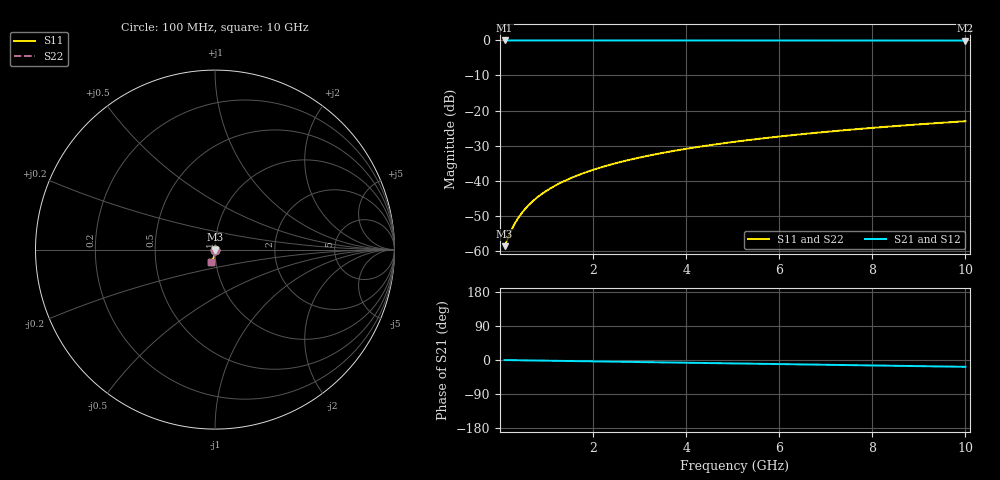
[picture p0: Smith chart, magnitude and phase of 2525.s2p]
# Hz S RI R 50.00
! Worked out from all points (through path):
!   100 points, 100 MHz to 10 GHz, reference 50 ohm
!   highest |S21| = -0.01 dB at 100 MHz (marker M1); lowest = 0.0 dB at 10 GHz (marker M2)
!   group delay of S21, straight-line fit = 5 ps
!   lowest |S11| = -58.7 dB at 100 MHz (marker M3), VSWR 1.00, Z = 50.1 - j0.0714 ohm
!   |S11| at or under -10 dB: start of sweep to end of sweep
!   |S22| runs from -58.7 to -23.1 dB; largest |S21 - S12| = 0
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1e8  0.000915 -0.000713  0.9991 -0.00312  0.9991 -0.00312  0.000915 -0.000713
2e8  0.000913 -0.00143  0.999 -0.00625  0.999 -0.00625  0.000913 -0.00143
3e8  0.000904 -0.00214  0.999 -0.00937  0.999 -0.00937  0.000904 -0.00214
4e8  0.000891 -0.00285  0.999 -0.0125  0.999 -0.0125  0.000891 -0.00285
5e8  0.000872 -0.00356  0.9989 -0.0156  0.9989 -0.0156  0.000872 -0.00356
6e8  0.000849 -0.00428  0.9989 -0.0187  0.9989 -0.0187  0.000849 -0.00428
7e8  0.000821 -0.00499  0.9988 -0.0219  0.9988 -0.0219  0.000821 -0.00499
9e8  0.00075 -0.00641  0.9986 -0.0281  0.9986 -0.0281  0.00075 -0.00641
1e9  0.000708 -0.00712  0.9985 -0.0312  0.9985 -0.0312  0.000708 -0.00712
1.2e9  0.000611 -0.00855  0.9983 -0.0375  0.9983 -0.0375  0.000611 -0.00855
1.5e9  0.00043 -0.0107  0.9979 -0.0469  0.9979 -0.0469  0.00043 -0.0107
1.8e9  0.000209 -0.0128  0.9973 -0.0562  0.9973 -0.0562  0.000209 -0.0128
2.1e9  -5.21e-05 -0.0149  0.9967 -0.0656  0.9967 -0.0656  -5.21e-05 -0.0149
2.5e9  -0.000463 -0.0178  0.9958 -0.0781  0.9958 -0.0781  -0.000463 -0.0178
2.9e9  -0.000945 -0.0206  0.9946 -0.0905  0.9946 -0.0905  -0.000945 -0.0206
3.4e9  -0.00165 -0.0241  0.993 -0.1061  0.993 -0.1061  -0.00165 -0.0241
4.2e9  -0.003 -0.0297  0.9899 -0.1309  0.9899 -0.1309  -0.003 -0.0297
5.1e9  -0.00485 -0.0359  0.9855 -0.1588  0.9855 -0.1588  -0.00485 -0.0359
5.9e9  -0.0068 -0.0413  0.981 -0.1835  0.981 -0.1835  -0.0068 -0.0413
6.7e9  -0.00901 -0.0466  0.9758 -0.208  0.9758 -0.208  -0.00901 -0.0466
8.4e9  -0.0146 -0.0575  0.9626 -0.2597  0.9626 -0.2597  -0.0146 -0.0575
1e10  -0.0209 -0.0671  0.9476 -0.3076  0.9476 -0.3076  -0.0209 -0.0671
